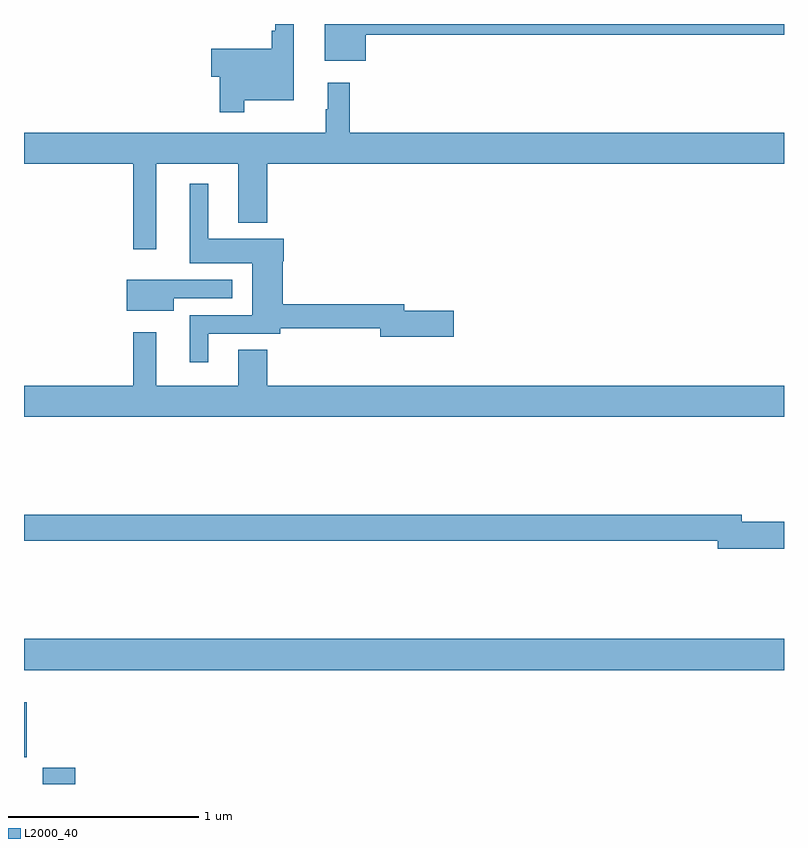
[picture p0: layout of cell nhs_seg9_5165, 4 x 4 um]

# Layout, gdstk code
import gdstk
lib = gdstk.Library(unit=1e-6, precision=1e-09)
def R(c, l, rs):  # rectangles x0, y0, x1, y1
    for r in rs: c.add(gdstk.rectangle(r[:2], r[2:], *l))
def P(c, l, *ps):  # polygons
    for p in ps: c.add(gdstk.Polygon(p, *l))
L2000_40 = (2000, 40)

nhs_seg9_5165 = lib.new_cell('nhs_seg9_5165')
R(nhs_seg9_5165, L2000_40, [(411.098,1182.5,411.269,1182.586), (411,1182.641,411.014,1182.931), (411,1183.1,415,1183.264)])
P(nhs_seg9_5165, L2000_40, [(412.798,1186.444),(415,1186.444),(415,1186.5),(412.583,1186.5),(412.583,1186.307),(412.798,1186.307)],
  [(412.159,1186.1),(412.42,1186.1),(412.42,1186.5),(412.323,1186.5),(412.323,1186.465),(412.303,1186.465),(412.303,1186.369),(411.986,1186.369),(411.986,1186.222),(412.03,1186.222),(412.03,1186.035),(412.159,1186.035)],
  [(411.697,1185.764),(412.127,1185.764),(412.127,1185.455),(412.28,1185.455),(412.28,1185.764),(415,1185.764),(415,1185.928),(412.715,1185.928),(412.715,1186.192),(412.598,1186.192),(412.598,1186.052),(412.587,1186.052),(412.587,1185.928),(411,1185.928),(411,1185.764),(411.576,1185.764),(411.576,1185.315),(411.697,1185.315)],
  [(411.97,1184.871),(412.348,1184.871),(412.348,1184.898),(412.874,1184.898),(412.874,1184.855),(413.263,1184.855),(413.263,1184.99),(413.002,1184.99),(413.002,1185.026),(412.361,1185.026),(412.361,1185.252),(412.366,1185.252),(412.366,1185.37),(411.97,1185.37),(411.97,1185.658),(411.872,1185.658),(411.872,1185.242),(412.202,1185.242),(412.202,1184.967),(411.872,1184.967),(411.872,1184.721),(411.97,1184.721)],
  [(411.787,1185.057),(412.096,1185.057),(412.096,1185.153),(411.783,1185.153),(411.783,1185.154),(411.542,1185.154),(411.542,1184.99),(411.787,1184.99)],
  [(415,1184.596),(412.28,1184.596),(412.28,1184.786),(412.127,1184.786),(412.127,1184.596),(411.697,1184.596),(411.697,1184.878),(411.576,1184.878),(411.576,1184.596),(411,1184.596),(411,1184.432),(415,1184.432)],
  [(415,1183.88),(414.778,1183.88),(414.778,1183.916),(411,1183.916),(411,1183.78),(414.65,1183.78),(414.65,1183.738),(415,1183.738)])

lib.write_gds('nhs_seg9_5165.gds')
